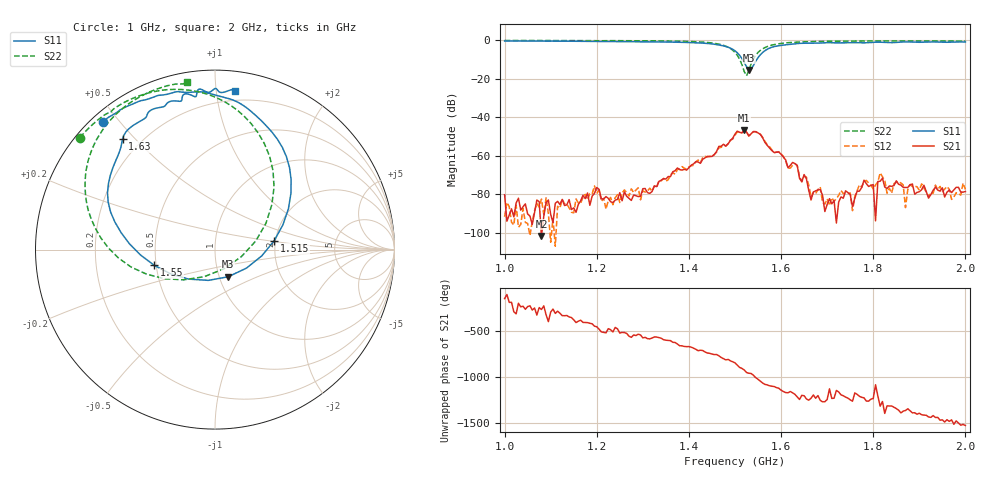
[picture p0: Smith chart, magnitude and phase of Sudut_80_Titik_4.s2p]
# Hz S RI R 50
! CMT, C1220, 16058040, 17.2.0/1
! Date: 14/08/2018 12:29:39
! Data: Format (Calibration Info)
! Freq  S11: Re/Im (F2)  S21: Re/Im (F2)  S12: Re/Im (F2)  S22: Re/Im (F2)
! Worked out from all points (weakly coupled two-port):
!   201 points, 1 GHz to 2 GHz, reference 50 ohm
!   highest |S21| = -46.88 dB at 1.52 GHz (marker M1); lowest = -101.7 dB at 1.08 GHz (marker M2)
!   lowest |S11| = -15.5 dB at 1.53 GHz (marker M3), VSWR 1.40, Z = 55.1 - j17.2 ohm
!   |S11| at or under -10 dB: 1.516 GHz to 1.548 GHz (31.56 MHz wide, 2.06 % of centre)
!   |S22| runs from -18.6 to -0.2 dB; largest |S21 - S12| = 0.00042
!   S11 on the Smith chart (normalised r, x): 1 GHz: 0.03, +0.45; 1.515 GHz: 1.97, +0.21; 1.55 GHz: 0.49, -0.10; 1.63 GHz: 0.13, +0.46; 2 GHz: 0.13, +1.13
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1e9  -0.6267 0.7085  -7.43e-05 -6.07e-05  1.69e-06 2.55e-05  -0.7528 0.6242
1.08e9  -0.5399 0.769  -1.47e-06 8.07e-06  -3.72e-05 6.41e-05  -0.6957 0.6835
1.17e9  -0.4506 0.8146  6.98e-05 -6.06e-05  7.87e-05 -1.89e-05  -0.6166 0.7496
1.315e9  -0.212 0.8798  -7.78e-05 6.88e-05  -0.000137 3.71e-05  -0.4389 0.8505
1.335e9  -0.1853 0.8774  -0.000188 9.91e-05  -0.00018 0.000135  -0.4012 0.8636
1.45e9  0.2024 0.7688  0.000844 -0.000435  0.000823 -0.000492  0.0213 0.84
1.5e9  0.4231 0.3139  -0.00202 -0.003  -0.00192 -0.00279  0.329 0.3477
1.515e9  0.3293 0.0485  -0.00387 0.000295  -0.00391 0.000144  0.2269 0.0477
1.52e9  0.2611 -0.0344  -0.00421 0.00165  -0.00419 0.00162  0.1475 -0.0388
1.53e9  0.0733 -0.1514  -0.00174 0.0027  -0.00181 0.0027  -0.0599 -0.1509
1.55e9  -0.3385 -0.0876  0.00214 0.00322  0.00202 0.00328  -0.4676 -0.0971
1.615e9  -0.5301 0.5511  -7.41e-06 -0.000481  -1.91e-05 -0.000471  -0.7118 0.4742
1.63e9  -0.5151 0.6167  -0.000193 -0.000588  -0.000187 -0.000583  -0.6908 0.5437
1.67e9  -0.3955 0.7278  -4.81e-05 -0.000102  -5.24e-05 -9.72e-05  -0.6239 0.6708
1.76e9  -0.2334 0.8283  -3.34e-06 -7.79e-05  -2.73e-05 -8.14e-05  -0.4832 0.8105
1.785e9  -0.1855 0.8309  -0.000186 4.63e-06  -0.000222 -4.44e-05  -0.4467 0.8346
1.8e9  -0.1806 0.8564  -0.000159 -7.69e-05  -6.14e-05 0.000121  -0.4257 0.8473
1.805e9  -0.1757 0.8635  2.01e-05 -1.29e-06  -0.000144 -9.21e-05  -0.4184 0.8515
1.815e9  -0.1578 0.8679  -0.000115 0.000182  -0.000355 -2.02e-05  -0.4048 0.859
1.83e9  -0.1213 0.8554  -8.22e-05 0.000112  -7.93e-06 0.000104  -0.3844 0.8688
1.835e9  -0.1124 0.8519  -9.16e-05 0.000134  -4.89e-06 0.000142  -0.3778 0.8723
2e9  0.1121 0.8841  3.3e-06 -0.000116  -3.64e-05 -0.000126  -0.1541 0.9316
